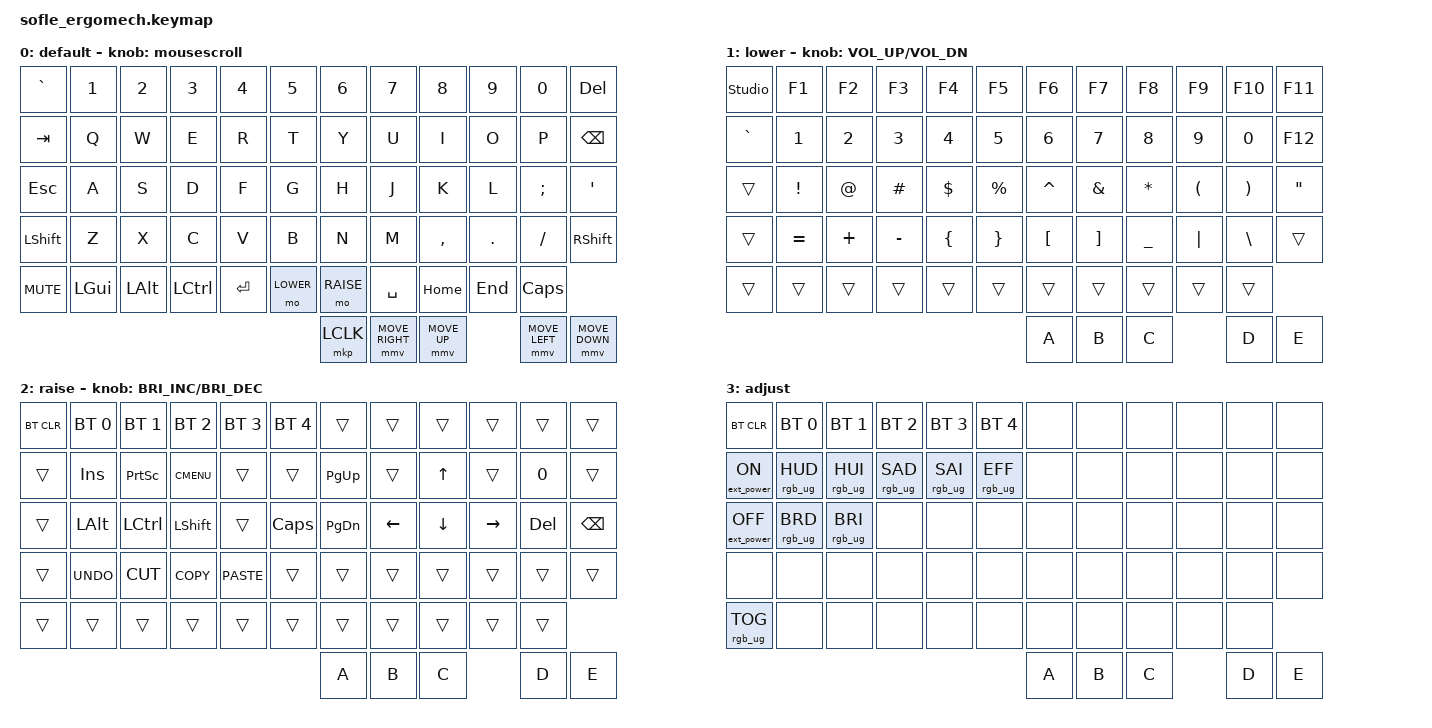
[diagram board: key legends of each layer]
/*
 * Copyright (c) 2020 The ZMK Contributors
 *
 * SPDX-License-Identifier: MIT
 */
#define ZMK_MOUSE_SCRL_VAL 140
#include <dt-bindings/zmk/pointing.h>
#include <behaviors.dtsi>
#include <dt-bindings/zmk/bt.h>
#include <dt-bindings/zmk/ext_power.h>
#include <dt-bindings/zmk/keys.h>
#include <dt-bindings/zmk/rgb.h>
#include <dt-bindings/zmk/pointing.h>

#define BASE 0
#define LOWER 1
#define RAISE 2
#define ADJUST 3

/ {
    // Activate ADJUST layer by pressing raise and lower

    conditional_layers {
        compatible = "zmk,conditional-layers";

        adjust_layer {
            if-layers = <LOWER RAISE>;
            then-layer = <ADJUST>;
        };
    };	
	
	behaviors {
        mousescroll: mousescroll {
            compatible = "zmk,behavior-sensor-rotate";
            #sensor-binding-cells = <0>;
            bindings = <&msc SCRL_UP>, <&msc SCRL_DOWN>;
            tap-ms = <120>;
        };
    };

    keymap {
        compatible = "zmk,keymap";

        default_layer {
            label = "default";

            // ------------------------------------------------------------------------------------------------------------
            // |   `   |  1  |  2  |  3   |  4   |  5   |                   |  6   |  7    |  8    |  9   |   0   |  DEL  |
            // |  TAB  |  Q  |  W  |  E   |  R   |  T   |                   |  Y   |  U    |  I    |  O   |   P   | BKSPC |
            // |  ESC  |  A  |  S  |  D   |  F   |  G   |                   |  H   |  J    |  K    |  L   |   ;   |   '   |
            // | SHIFT |  Z  |  X  |  C   |  V   |  B   | MSCRLL |  |       |  N   |  M    |  ,    |  .   |   /   | SHIFT |
            //               | GUI | ALT  | CTRL | ENTER|  LOWER |  | RAISE | SPACE| HOME  | END   | CAPS |

            bindings = <
&kp GRAVE   &kp N1    &kp N2    &kp N3     &kp N4   &kp N5     &kp N6     &kp N7     &kp N8        &kp N9    &kp N0    &kp DEL
&kp TAB     &kp Q     &kp W     &kp E      &kp R    &kp T      &kp Y      &kp U      &kp I         &kp O     &kp P     &kp BSPC
&kp ESC     &kp A     &kp S     &kp D      &kp F    &kp G      &kp H      &kp J      &kp K         &kp L     &kp SEMI  &kp SQT
&kp LSHFT   &kp Z     &kp X     &kp C      &kp V    &kp B      &kp N      &kp M      &kp COMMA     &kp DOT   &kp FSLH  &kp RSHFT
&kp C_MUTE  &kp LGUI  &kp LALT  &kp LCTRL  &kp RET  &mo LOWER  &mo RAISE  &kp SPACE  &kp HOME      &kp END   &kp CAPS
                                                               &mkp LCLK  &mmv MOVE_RIGHT  &mmv MOVE_UP  &mmv MOVE_LEFT  &mmv MOVE_DOWN
            >;

            // Mouse scroll
            sensor-bindings = <&mousescroll>;
        };

        lower_layer {
            label = "lower";

            // TODO: Some binds are waiting for shifted keycode support.
            // ------------------------------------------------------------------------------------------------------------
            // |       |  F1 |  F2 |  F3  |  F4  |  F5  |                   |  F6  |  F7   |  F8   |  F9  |  F10  |  F11  |
            // |   `   |  1  |  2  |  3   |  4   |  5   |                   |  6   |  7    |  8    |  9   |   0   |  F12  |
            // |       |  !  |  @  |  #   |  $   |  %   |                   |  ^   |  &    |  *    |  (   |   )   |   "   |
            // |       |  =  |  +  |  -   |  {   |  }   |        |  |       |  [   |  ]    |  _    |  |   |   \   |       |
            //               |     |      |      |      |        |  |       |      |       |       |      |

            bindings = <
&studio_unlock     &kp F1     &kp F2     &kp F3    &kp F4    &kp F5     &kp F6     &kp F7    &kp F8     &kp F9     &kp F10   &kp F11
&kp GRAVE  &kp N1     &kp N2     &kp N3    &kp N4    &kp N5     &kp N6     &kp N7    &kp N8     &kp N9     &kp N0    &kp F12
&trans     &kp EXCL   &kp AT     &kp HASH  &kp DLLR  &kp PRCNT  &kp CARET  &kp AMPS  &kp ASTRK  &kp LPAR   &kp RPAR  &kp DQT
&trans     &kp EQUAL  &kp PLUS   &kp MINUS &kp LBRC  &kp RBRC   &kp LBKT   &kp RBKT  &kp UNDER  &kp PIPE   &kp BSLH  &trans
&trans     &trans     &trans     &trans    &trans    &trans     &trans     &trans    &trans     &trans     &trans
                                                                &kp A      &kp B     &kp C      &kp D      &kp E
            >;

            // Volume
            sensor-bindings = <&inc_dec_kp C_VOL_UP C_VOL_DN>;
        };

        raise_layer {
            label = "raise";

            // ------------------------------------------------------------------------------------------------------------
            // | BTCLR | BT1  | BT2  |  BT3  |  BT4  |  BT5 |                |      |      |       |      |       |       |
            // |       | INS  | PSCR | GUI   |       |      |                | PGUP |      |   ^   |      |       |       |
            // |       | ALT  | CTRL | SHIFT |       | CAPS |                | PGDN |   <- |   v   |  ->  |  DEL  | BKSPC |
            // |       | UNDO | CUT  | COPY  | PASTE |      |      |  |      |      |      |       |      |       |       |
            //                |      |       |       |      |      |  |      |      |      |       |      |

            bindings = <
&bt BT_CLR  &bt BT_SEL 0  &bt BT_SEL 1  &bt BT_SEL 2  &bt BT_SEL 3  &bt BT_SEL 4  &trans     &trans    &trans    &trans     &trans   &trans
&trans      &kp INS       &kp PSCRN     &kp K_CMENU   &trans        &trans        &kp PG_UP  &trans    &kp UP    &trans     &kp N0   &trans
&trans      &kp LALT      &kp LCTRL     &kp LSHFT     &trans        &kp CLCK      &kp PG_DN  &kp LEFT  &kp DOWN  &kp RIGHT  &kp DEL  &kp BSPC
&trans      &kp K_UNDO    &kp K_CUT     &kp K_COPY    &kp K_PASTE   &trans        &trans     &trans    &trans    &trans     &trans   &trans
&trans      &trans        &trans        &trans        &trans        &trans        &trans     &trans    &trans    &trans     &trans
                                                                                  &kp A      &kp B     &kp C     &kp D      &kp E
            >;

            // Brightness
            sensor-bindings = <&inc_dec_kp C_BRI_INC C_BRI_DEC>;
        };

        adjust_layer {
            // ----------------------------------------------------------------------------------------------------------------------------
            // | BTCLR  |  BT1    |  BT2    |   BT3   |   BT4   |   BT5   |                  |      |      |       |      |       |       |
            // | EP_ON  | RGB_HUD | RGB_HUI | RGB_SAD | RGB_SAI | RGB_EFF |                  |      |      |       |      |       |       |
            // | EP_OFF | RGB_BRD | RGB_BRI |         |         |         |                  |      |      |       |      |       |       |
            // |        |         |         |         |         |         | RGB_TOG | |      |      |      |       |      |       |       |
            //                    |         |         |         |         |         | |      |      |      |       |      |

            label = "adjust";
            bindings = <
&bt BT_CLR         &bt BT_SEL 0     &bt BT_SEL 1     &bt BT_SEL 2     &bt BT_SEL 3     &bt BT_SEL 4     &none  &none  &none  &none  &none  &none
&ext_power EP_ON   &rgb_ug RGB_HUD  &rgb_ug RGB_HUI  &rgb_ug RGB_SAD  &rgb_ug RGB_SAI  &rgb_ug RGB_EFF  &none  &none  &none  &none  &none  &none
&ext_power EP_OFF  &rgb_ug RGB_BRD  &rgb_ug RGB_BRI  &none            &none            &none            &none  &none  &none  &none  &none  &none
&none              &none            &none            &none            &none            &none            &none  &none  &none  &none  &none  &none
&rgb_ug RGB_TOG    &none            &none            &none            &none            &none            &none  &none  &none  &none  &none
                                                                                                        &kp A  &kp B  &kp C  &kp D  &kp E
            >;
        };
    };
};
